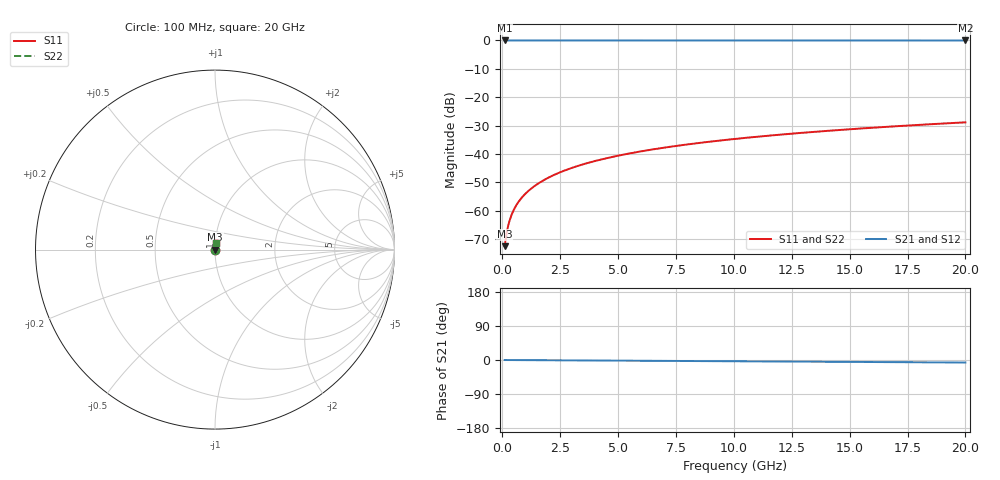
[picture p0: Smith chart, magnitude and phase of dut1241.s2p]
! Touchstone file exported from HFSS 2026.1.0
!  File:  C:/ffzhzh/LocalFiles/Ansys_Project_Files/temp_train_TSV_1241_1783193471_18472.aedt
!  Generated:  03:32:47 AM Jul  5, 2026
!  Design:  TSV
!  Project:  temp_train_TSV_1241_1783193471_18472
! Variables:
!  h_bsmrdl = 2um
!  h_ox = 20um
!  h_rdl = 5um
!  h_sub = 56.81um
!  h_tmrdl = 5um
!  h_tsv = 56.81um
!  h_via = 3um
!  l_bsmrdl = 300um
!  l_sub = 418.76um
!  l_tmrdl = 200um
!  m_sub = 200um
!  pitch = 54.73um
!  r_tsv = 9.38um
!  s_tmrdl = 10um
!  w_bsmrdl = 18um
!  w_sub = 500um
!  w_tmrdl = 12um
!  x_tsv_center1 = 206um
!  x_tsv_center2 = 524um
!  x_tsv_center3 = 736um
!  x_tsv_center4 = 1054um
!  x_tsv_center5 = 1266um
!  x_tsv_center6 = 1584um
# GHz S MA R 50.000000
! Terminal data exported
! Port[1] = TSV1_1_T1
! Port[2] = TSV1_1_T2
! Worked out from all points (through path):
!   200 points, 100 MHz to 20 GHz, reference 50 ohm
!   highest |S21| = 0.00 dB at 100 MHz (marker M1); lowest = 0.0 dB at 20 GHz (marker M2)
!   lowest |S11| = -72.5 dB at 100 MHz (marker M3), VSWR 1.00, Z = 50 + j0.0212 ohm
!   |S11| at or under -10 dB: start of sweep to end of sweep
!   |S22| runs from -72.5 to -28.8 dB; largest |S21 - S12| = 3.1e-15
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0.1  0.0002376 63.2  0.9999 -0.0  0.9999 -0.0  0.0002376 63.2
! Gamma 0 0 0 0
! Port Impedance 50 0 50 0
0.2  0.000438 74.7  0.9999 -0.1  0.9999 -0.1  0.000438 74.7
0.3  0.0006425 78.4  0.9999 -0.1  0.9999 -0.1  0.0006425 78.4
0.4  0.000845 80.1  0.9999 -0.1  0.9999 -0.1  0.000845 80.1
0.5  0.001044 81.0  0.9998 -0.2  0.9998 -0.2  0.001044 81.0
0.6  0.00124 81.6  0.9998 -0.2  0.9998 -0.2  0.00124 81.6
0.7  0.001433 82.0  0.9998 -0.2  0.9998 -0.2  0.001433 82.0
0.8  0.001623 82.4  0.9998 -0.3  0.9998 -0.3  0.001623 82.4
1  0.001998 82.9  0.9998 -0.3  0.9998 -0.3  0.001998 82.9
1.4  0.002738 83.7  0.9997 -0.5  0.9997 -0.5  0.002738 83.7
1.7  0.003291 84.2  0.9997 -0.6  0.9997 -0.6  0.003291 84.2
2  0.003842 84.5  0.9997 -0.7  0.9997 -0.7  0.003842 84.5
2.7  0.005128 85.0  0.9996 -0.9  0.9996 -0.9  0.005128 85.0
3.5  0.006594 85.3  0.9996 -1.2  0.9996 -1.2  0.006594 85.3
4.2  0.007872 85.3  0.9995 -1.4  0.9995 -1.4  0.007872 85.3
5  0.009328 85.3  0.9995 -1.7  0.9995 -1.7  0.009328 85.3
6.8  0.01258 85.1  0.9993 -2.3  0.9993 -2.3  0.01258 85.1
8.3  0.01528 84.8  0.9992 -2.8  0.9992 -2.8  0.01528 84.8
10.1  0.01851 84.4  0.9991 -3.4  0.9991 -3.4  0.01851 84.4
13.4  0.02441 83.6  0.9989 -4.5  0.9989 -4.5  0.02441 83.6
16.7  0.03027 82.7  0.9986 -5.6  0.9986 -5.6  0.03027 82.7
20  0.0361 81.7  0.9984 -6.7  0.9984 -6.7  0.0361 81.7
